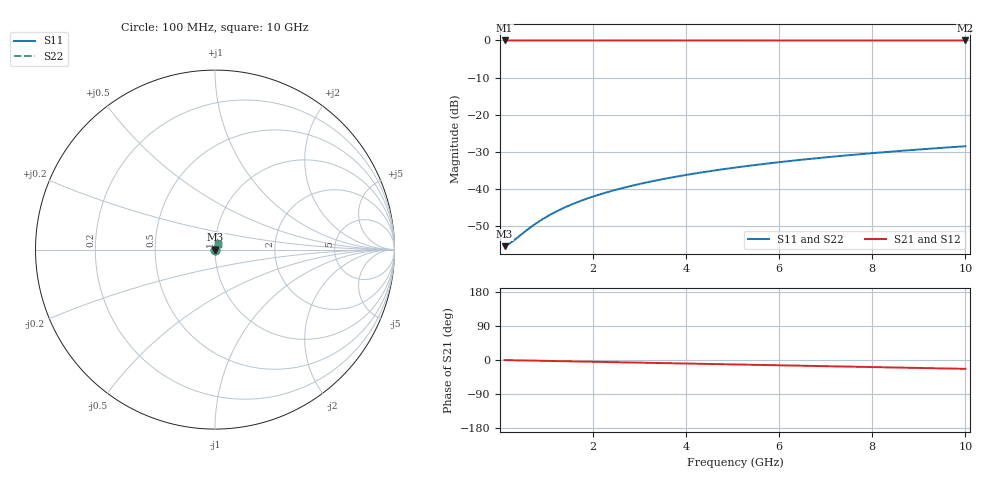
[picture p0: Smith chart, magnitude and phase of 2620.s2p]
# Hz S RI R 50.00
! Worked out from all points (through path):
!   100 points, 100 MHz to 10 GHz, reference 50 ohm
!   highest |S21| = -0.01 dB at 100 MHz (marker M1); lowest = 0.0 dB at 10 GHz (marker M2)
!   group delay of S21, straight-line fit = 6.49 ps
!   lowest |S11| = -55.4 dB at 100 MHz (marker M3), VSWR 1.00, Z = 50.2 + j0.0382 ohm
!   |S11| at or under -10 dB: start of sweep to end of sweep
!   |S22| runs from -55.4 to -28.5 dB; largest |S21 - S12| = 0
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1e8  0.00166 0.00038  0.9983 -0.00405  0.9983 -0.00405  0.00166 0.00038
2e8  0.00167 0.000761  0.9983 -0.00809  0.9983 -0.00809  0.00167 0.000761
3e8  0.00169 0.00114  0.9982 -0.0121  0.9982 -0.0121  0.00169 0.00114
6e8  0.00174 0.00228  0.998 -0.0243  0.998 -0.0243  0.00174 0.00228
7e8  0.00176 0.00266  0.9979 -0.0283  0.9979 -0.0283  0.00176 0.00266
8e8  0.00179 0.00304  0.9978 -0.0324  0.9978 -0.0324  0.00179 0.00304
1e9  0.00185 0.0038  0.9974 -0.0405  0.9974 -0.0405  0.00185 0.0038
1.2e9  0.00192 0.00455  0.9971 -0.0485  0.9971 -0.0485  0.00192 0.00455
1.4e9  0.002 0.00531  0.9966 -0.0566  0.9966 -0.0566  0.002 0.00531
1.6e9  0.0021 0.00606  0.9961 -0.0647  0.9961 -0.0647  0.0021 0.00606
1.8e9  0.00221 0.00681  0.9956 -0.0728  0.9956 -0.0728  0.00221 0.00681
2.1e9  0.00239 0.00793  0.9946 -0.0849  0.9946 -0.0849  0.00239 0.00793
2.5e9  0.00267 0.00942  0.993 -0.101  0.993 -0.101  0.00267 0.00942
2.9e9  0.00301 0.0109  0.9912 -0.1172  0.9912 -0.1172  0.00301 0.0109
3.4e9  0.00349 0.0127  0.9886 -0.1373  0.9886 -0.1373  0.00349 0.0127
4.2e9  0.00442 0.0156  0.9835 -0.1694  0.9835 -0.1694  0.00442 0.0156
5.1e9  0.00568 0.0188  0.9766 -0.2053  0.9766 -0.2053  0.00568 0.0188
5.9e9  0.007 0.0215  0.9693 -0.237  0.9693 -0.237  0.007 0.0215
6.7e9  0.0085 0.0241  0.9609 -0.2685  0.9609 -0.2685  0.0085 0.0241
7.5e9  0.0102 0.0266  0.9515 -0.2997  0.9515 -0.2997  0.0102 0.0266
8.4e9  0.0122 0.0294  0.9397 -0.3346  0.9397 -0.3346  0.0122 0.0294
1e10  0.0164 0.0338  0.9155 -0.3954  0.9155 -0.3954  0.0164 0.0338
